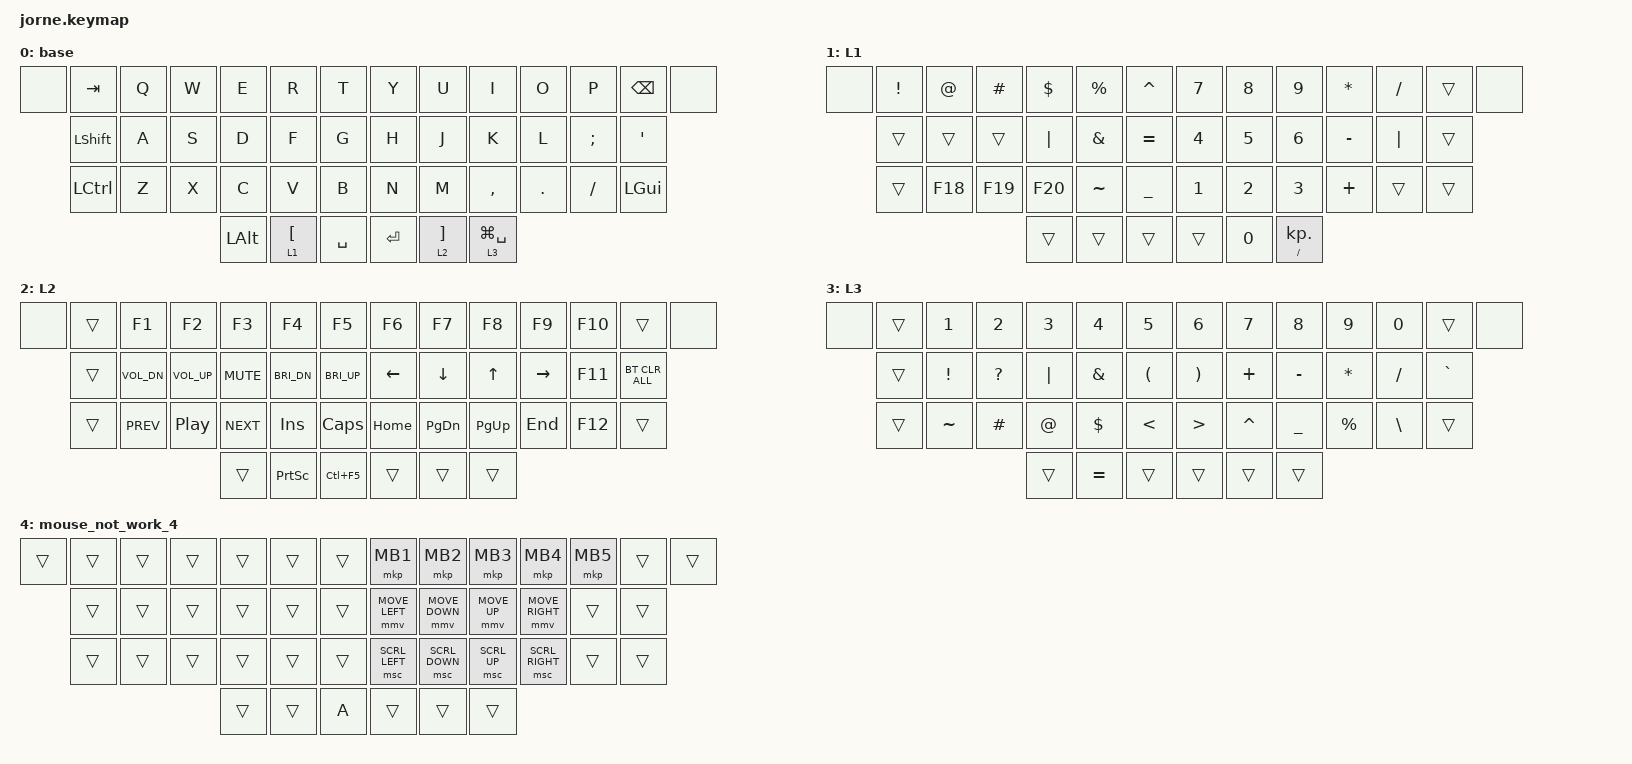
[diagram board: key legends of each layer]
/*
 * Copyright (c) 2020 The ZMK Contributors
 *
 * SPDX-License-Identifier: MIT
 */

#include <behaviors.dtsi>
#include <dt-bindings/zmk/bt.h>
#include <dt-bindings/zmk/keys.h>
#include <dt-bindings/zmk/pointing.h>

/ {
    combos {
        compatible = "zmk,combos";

        esc {
            bindings = <&kp ESC>;
            key-positions = <1 2>;
        };

        del {
            bindings = <&kp DELETE>;
            key-positions = <12 11>;
        };
    };

    behaviors {
        hml: hml {
            compatible = "zmk,behavior-hold-tap";
            label = "HML";
            bindings = <&kp>, <&kp>;

            #binding-cells = <2>;
            tapping-term-ms = <220>;
            quick-tap-ms = <175>;
            flavor = "balanced";
            require-prior-idle-ms = <100>;
            hold-trigger-key-positions = <7 8 9 10 11 12 13 20 21 22 23 24 25 32 33 34 35 36 37 38 39 40 41 42 43>;
            hold-trigger-on-release;
        };

        hmr: hmr {
            compatible = "zmk,behavior-hold-tap";
            label = "HMR";
            bindings = <&kp>, <&kp>;

            #binding-cells = <2>;
            tapping-term-ms = <220>;
            quick-tap-ms = <175>;
            require-prior-idle-ms = <100>;
            flavor = "balanced";
            hold-trigger-key-positions = <0 1 2 3 4 5 6 14 15 16 17 18 19 26 27 28 29 30 31 38 39 40 41 42 43>;
            hold-trigger-on-release;
        };

        tkl: tkl {
            compatible = "zmk,behavior-hold-tap";
            label = "TKL";
            bindings = <&mo>, <&kp>;

            #binding-cells = <2>;
            tapping-term-ms = <220>;
            quick-tap-ms = <175>;
            flavor = "balanced";
            require-prior-idle-ms = <100>;
            hold-trigger-key-positions = <7 8 9 10 11 12 13 20 21 22 23 24 25 32 33 34 35 36 37 38 39 40 41 42 43>;
            hold-trigger-on-release;
        };

        tkr: tkr {
            compatible = "zmk,behavior-hold-tap";
            label = "TKR";
            bindings = <&mo>, <&kp>;

            #binding-cells = <2>;
            tapping-term-ms = <220>;
            quick-tap-ms = <175>;
            require-prior-idle-ms = <100>;
            flavor = "balanced";
            hold-trigger-key-positions = <0 1 2 3 4 5 6 14 15 16 17 18 19 26 27 28 29 30 31 38 39 40 41 42 43>;
            hold-trigger-on-release;
        };
    };

    keymap {
        compatible = "zmk,keymap";

        base {
            bindings = <
&none  &kp TAB           &kp Q  &kp W  &kp E         &kp R               &kp T        &kp Y      &kp U                &kp I            &kp O    &kp P     &kp BACKSPACE  &none
       &kp LEFT_SHIFT    &kp A  &kp S  &kp D         &kp F               &kp G        &kp H      &kp J                &kp K            &kp L    &kp SEMI  &kp APOS
       &kp LEFT_CONTROL  &kp Z  &kp X  &kp C         &kp V               &kp B        &kp N      &kp M                &kp COMMA        &kp DOT  &kp FSLH  &kp LEFT_GUI
                                       &kp LEFT_ALT  &lt 1 LEFT_BRACKET  &kp SPACE    &kp ENTER  &lt 2 RIGHT_BRACKET  &lt 3 LG(SPACE)
            >;
        };

        L1 {
            bindings = <
&none  &kp EXCLAMATION  &kp AT_SIGN  &kp HASH  &kp DOLLAR  &kp PERCENT    &kp CARET         &kp N7  &kp N8        &kp N9            &kp ASTERISK  &kp FSLH  &trans  &none
       &trans           &trans       &trans    &kp PIPE    &kp AMPERSAND  &kp EQUAL         &kp N4  &kp N5        &kp N6            &kp MINUS     &kp PIPE  &trans
       &trans           &kp F18      &kp F19   &kp F20     &kp TILDE      &kp UNDERSCORE    &kp N1  &kp N2        &kp N3            &kp PLUS      &trans    &trans
                                               &trans      &trans         &trans            &trans  &kp NUMBER_0  &mt SLASH KP_DOT
            >;
        };

        L2 {
            bindings = <
&none  &trans  &kp F1        &kp F2            &kp F3      &kp F4        &kp F5          &kp F6    &kp F7         &kp F8       &kp F9     &kp F10  &trans          &none
       &trans  &kp C_VOL_DN  &kp C_VOL_UP      &kp K_MUTE  &kp C_BRI_DN  &kp C_BRI_UP    &kp LEFT  &kp DOWN       &kp UP       &kp RIGHT  &kp F11  &bt BT_CLR_ALL
       &trans  &kp C_PREV    &kp C_PLAY_PAUSE  &kp C_NEXT  &kp INSERT    &kp CAPS        &kp HOME  &kp PAGE_DOWN  &kp PAGE_UP  &kp END    &kp F12  &trans
                                               &trans      &kp PSCRN     &kp LC(F5)      &trans    &trans         &trans
            >;
        };

        L3 {
            bindings = <
&none  &trans  &kp NUMBER_1     &kp NUMBER_2  &kp NUMBER_3  &kp NUMBER_4   &kp N5                  &kp NUMBER_6           &kp N7     &kp N8          &kp N9        &kp N0    &trans     &none
       &trans  &kp EXCLAMATION  &kp QUESTION  &kp PIPE      &kp AMPERSAND  &kp LEFT_PARENTHESIS    &kp RIGHT_PARENTHESIS  &kp PLUS   &kp MINUS       &kp ASTERISK  &kp FSLH  &kp GRAVE
       &trans  &kp TILDE        &kp HASH      &kp AT_SIGN   &kp DOLLAR     &kp LESS_THAN           &kp GREATER_THAN       &kp CARET  &kp UNDERSCORE  &kp PRCNT     &kp BSLH  &trans
                                              &trans        &kp EQUAL      &trans                  &trans                 &trans     &trans
            >;
        };

        mouse_not_work_4 {
            bindings = <
&trans  &trans  &trans  &trans  &trans  &trans  &trans    &mkp MB1        &mkp MB2        &mkp MB3      &mkp MB4         &mkp MB5  &trans  &trans
        &trans  &trans  &trans  &trans  &trans  &trans    &mmv MOVE_LEFT  &mmv MOVE_DOWN  &mmv MOVE_UP  &mmv MOVE_RIGHT  &trans    &trans
        &trans  &trans  &trans  &trans  &trans  &trans    &msc SCRL_LEFT  &msc SCRL_DOWN  &msc SCRL_UP  &msc SCRL_RIGHT  &trans    &trans
                                &trans  &trans  &kp A     &trans          &trans          &trans
            >;
        };
    };

    conditional_layers { compatible = "zmk,conditional-layers"; };
};
